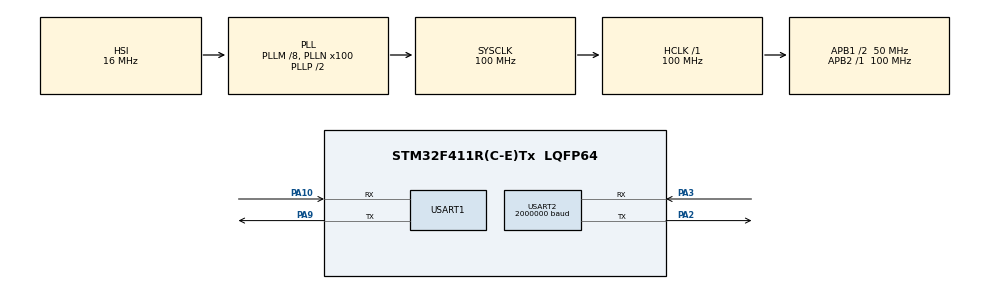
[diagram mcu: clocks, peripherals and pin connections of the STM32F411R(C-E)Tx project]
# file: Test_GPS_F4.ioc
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Mcu.Family=STM32F4
Mcu.Name=STM32F411R(C-E)Tx
Mcu.Package=LQFP64
NVIC.PriorityGroup=NVIC_PRIORITYGROUP_4
NVIC.USART1_IRQn=true\:0\:0\:false\:false\:true\:true\:true
PA10.Mode=Asynchronous
PA10.Signal=USART1_RX
PA2.Mode=Asynchronous
PA2.Signal=USART2_TX
PA3.Mode=Asynchronous
PA3.Signal=USART2_RX
PA9.Mode=Asynchronous
PA9.Signal=USART1_TX
ProjectManager.HeapSize=0x200
ProjectManager.StackSize=0x400
ProjectManager.TargetToolchain=Makefile
RCC.48MHZClocksFreq_Value=50000000
RCC.AHBFreq_Value=100000000
RCC.APB1CLKDivider=RCC_HCLK_DIV2
RCC.APB1Freq_Value=50000000
RCC.APB1TimFreq_Value=100000000
RCC.APB2Freq_Value=100000000
RCC.APB2TimFreq_Value=100000000
RCC.CortexFreq_Value=100000000
RCC.HCLKFreq_Value=100000000
RCC.HSE_VALUE=25000000
RCC.HSI_VALUE=16000000
RCC.LSE_VALUE=32768
RCC.PLLM=8
RCC.PLLN=100
RCC.SYSCLKFreq_VALUE=100000000
RCC.SYSCLKSource=RCC_SYSCLKSOURCE_PLLCLK
RCC.VCOOutputFreq_Value=200000000
USART1.VirtualMode=VM_ASYNC
USART2.BaudRate=2000000
USART2.VirtualMode=VM_ASYNC
board=custom

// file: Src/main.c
/* USER CODE BEGIN Header */
/**
  ******************************************************************************
  * @file           : main.c
  * @brief          : Main program body
  ******************************************************************************
  * @attention
  *
  * <h2><center>&copy; Copyright (c) 2019 STMicroelectronics.
  * All rights reserved.</center></h2>
  *
  * This software component is licensed by ST under BSD 3-Clause license,
  * the "License"; You may not use this file except in compliance with the
  * License. You may obtain a copy of the License at:
  *                        opensource.org/licenses/BSD-3-Clause
  *
  ******************************************************************************
  */
/* USER CODE END Header */

#include "main.h"

/* USER CODE BEGIN Includes */
#include "gps.h"
/* USER CODE END Includes */

UART_HandleTypeDef huart1;
UART_HandleTypeDef huart2;

/* USER CODE BEGIN PV */
char msg_gps[3];
char buffer_gps[50];
int cont_char;
int msg_arrived = 0;
char msg_computer[3];
gps_struct gps;
/* USER CODE END PV */

void SystemClock_Config(void);
static void MX_GPIO_Init(void);
static void MX_USART1_UART_Init(void);
static void MX_USART2_UART_Init(void);

int main(void)
{

  /* MCU Configuration--------------------------------------------------------*/

  /* Reset of all peripherals, Initializes the Flash interface and the Systick. */
  HAL_Init();

  /* Configure the system clock */
  SystemClock_Config();

  /* Initialize all configured peripherals */
  MX_GPIO_Init();
  MX_USART1_UART_Init();
  MX_USART2_UART_Init();
  /* USER CODE BEGIN 2 */
  HAL_UART_Transmit(&huart2,(uint8_t*)"ciao\r\n",6,10);
  gps.huart_gps = &huart1;
  gps_init(gps.huart_gps, &gps);
  HAL_NVIC_SetPriority(USART1_IRQn, 0, 0);
  HAL_NVIC_EnableIRQ(USART1_IRQn);
  if(HAL_UART_Receive_IT(&huart1, (uint8_t *)msg_gps, 1) != HAL_OK){ //request of rx buffer interrupt
    char txt[100];
    sprintf(txt,"HAL_UART_Receive_IT FAILED\r\n");
    HAL_UART_Transmit(&huart2,(uint8_t*)txt,strlen(txt),10);
  }
  /* USER CODE END 2 */

  /* Infinite loop */
  /* USER CODE BEGIN WHILE */
  while (1)
  {
    gps_read(gps.huart_gps, &gps);
    /* USER CODE END WHILE */

  }
}

void SystemClock_Config(void)
{
  RCC_OscInitTypeDef RCC_OscInitStruct = {0};
  RCC_ClkInitTypeDef RCC_ClkInitStruct = {0};

  /** Configure the main internal regulator output voltage
  */
  __HAL_RCC_PWR_CLK_ENABLE();
  __HAL_PWR_VOLTAGESCALING_CONFIG(PWR_REGULATOR_VOLTAGE_SCALE1);
  /** Initializes the CPU, AHB and APB busses clocks
  */
  RCC_OscInitStruct.OscillatorType = RCC_OSCILLATORTYPE_HSI;
  RCC_OscInitStruct.HSIState = RCC_HSI_ON;
  RCC_OscInitStruct.HSICalibrationValue = RCC_HSICALIBRATION_DEFAULT;
  RCC_OscInitStruct.PLL.PLLState = RCC_PLL_ON;
  RCC_OscInitStruct.PLL.PLLSource = RCC_PLLSOURCE_HSI;
  RCC_OscInitStruct.PLL.PLLM = 8;
  RCC_OscInitStruct.PLL.PLLN = 100;
  RCC_OscInitStruct.PLL.PLLP = RCC_PLLP_DIV2;
  RCC_OscInitStruct.PLL.PLLQ = 4;
  if (HAL_RCC_OscConfig(&RCC_OscInitStruct) != HAL_OK)
  {
    Error_Handler();
  }
  /** Initializes the CPU, AHB and APB busses clocks
  */
  RCC_ClkInitStruct.ClockType = RCC_CLOCKTYPE_HCLK|RCC_CLOCKTYPE_SYSCLK
                              |RCC_CLOCKTYPE_PCLK1|RCC_CLOCKTYPE_PCLK2;
  RCC_ClkInitStruct.SYSCLKSource = RCC_SYSCLKSOURCE_PLLCLK;
  RCC_ClkInitStruct.AHBCLKDivider = RCC_SYSCLK_DIV1;
  RCC_ClkInitStruct.APB1CLKDivider = RCC_HCLK_DIV2;
  RCC_ClkInitStruct.APB2CLKDivider = RCC_HCLK_DIV1;

  if (HAL_RCC_ClockConfig(&RCC_ClkInitStruct, FLASH_LATENCY_3) != HAL_OK)
  {
    Error_Handler();
  }
}

static void MX_USART1_UART_Init(void)
{

  huart1.Instance = USART1;
  huart1.Init.BaudRate = 9600;
  huart1.Init.WordLength = UART_WORDLENGTH_8B;
  huart1.Init.StopBits = UART_STOPBITS_1;
  huart1.Init.Parity = UART_PARITY_NONE;
  huart1.Init.Mode = UART_MODE_TX_RX;
  huart1.Init.HwFlowCtl = UART_HWCONTROL_NONE;
  huart1.Init.OverSampling = UART_OVERSAMPLING_16;
  if (HAL_UART_Init(&huart1) != HAL_OK)
  {
    Error_Handler();
  }

}

static void MX_USART2_UART_Init(void)
{

  huart2.Instance = USART2;
  huart2.Init.BaudRate = 2000000;
  huart2.Init.WordLength = UART_WORDLENGTH_8B;
  huart2.Init.StopBits = UART_STOPBITS_1;
  huart2.Init.Parity = UART_PARITY_NONE;
  huart2.Init.Mode = UART_MODE_TX_RX;
  huart2.Init.HwFlowCtl = UART_HWCONTROL_NONE;
  huart2.Init.OverSampling = UART_OVERSAMPLING_16;
  if (HAL_UART_Init(&huart2) != HAL_OK)
  {
    Error_Handler();
  }

}

static void MX_GPIO_Init(void)
{

  /* GPIO Ports Clock Enable */
  __HAL_RCC_GPIOA_CLK_ENABLE();

}

/* USER CODE BEGIN 4 */
void HAL_UART_RxCpltCallback(UART_HandleTypeDef *huart)
{
    if (huart == gps.huart_gps){
      buffer_gps[msg_arrived] = msg_gps[0];
      msg_arrived++;
      if(msg_arrived == 50){
        msg_arrived = 0;
      }
      //HAL_UART_Transmit(&huart2, (uint8_t*)&buffer_gps[0], 1, 10);
      HAL_UART_Receive_IT(huart, (uint8_t *)msg_gps, 1); //request of rx buffer interrupt
    }
}
void HAL_UART_ErrorCallback(UART_HandleTypeDef *huart){
  int errore = HAL_UART_GetError(huart);
  char txt[100];
  sprintf(txt,"CALLBACK ERRORE %d\r\n",errore);
  HAL_UART_Transmit(&huart2,(uint8_t*)txt,strlen(txt),10);
}
void HAL_UART_AbortReceiveCpltCallback(UART_HandleTypeDef *huart){
  int errore = HAL_UART_GetError(huart);
  char txt[100];
  sprintf(txt,"CALLBACK ABORT RECIVE %d\r\n",errore);
  HAL_UART_Transmit(&huart2,(uint8_t*)txt,strlen(txt),10);
}
/* USER CODE END 4 */

void Error_Handler(void)
{
}

/************************ (C) COPYRIGHT STMicroelectronics *****END OF FILE****/
